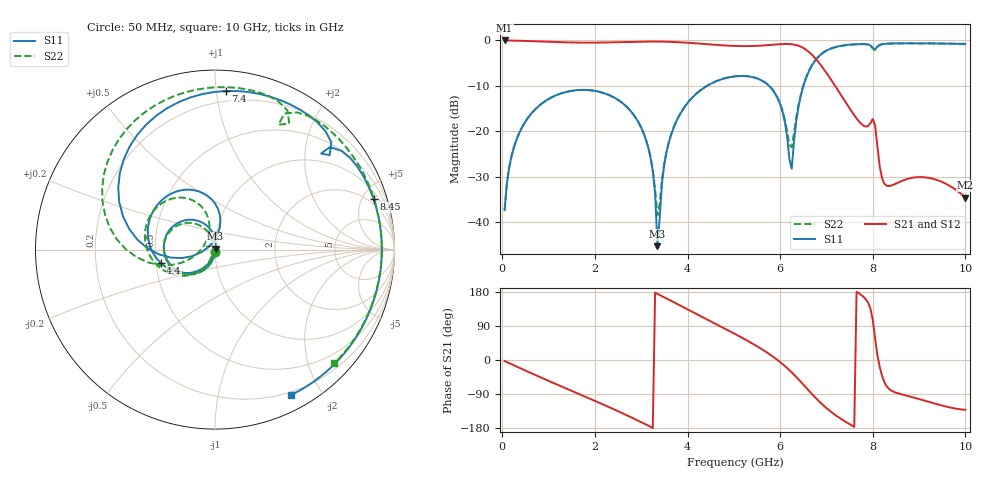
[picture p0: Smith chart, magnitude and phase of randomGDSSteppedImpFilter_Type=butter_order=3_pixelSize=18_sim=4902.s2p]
! freq	dB(S11)	phase(S11)	dB(S12)	phase(S12)
!  dB(S21)	phase(S21)	dB(S22)	phase(S22)
!S-par simulation data
#  GHz  S  DB  R 50
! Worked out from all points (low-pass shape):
!   200 points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, 50 MHz to 10 GHz, reference 50 ohm
!   highest |S21| = 0.00 dB at 50 MHz (marker M1); lowest = -34.5 dB at 10 GHz (marker M2)
!   |S21| within 3 dB of the highest: start of sweep to 6.672 GHz
!   lowest |S11| = -45.2 dB at 3.35 GHz (marker M3), VSWR 1.01, Z = 50.3 + j0.433 ohm
!   |S11| at or under -10 dB: start of sweep to 4.421 GHz; 5.76 GHz to 6.503 GHz (742.3 MHz wide, 12.1 % of centre)
!   |S22| runs from -38.5 to -0.6 dB; largest |S21 - S12| = 0
!   S11 on the Smith chart (normalised r, x): 50 MHz: 1.00, -0.03; 4.4 GHz: 0.53, -0.09; 7.4 GHz: 0.13, +1.06; 8.45 GHz: 1.51, +6.05; 10 GHz: 0.17, -1.64
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0.05  -37.33 -92.9  -0.00 -2.8  -0.00 -2.8  -37.33 -92.8
0.2  -25.41 -101.7  -0.03 -11.3  -0.03 -11.3  -25.41 -101.3
0.5  -17.84 -118.9  -0.11 -27.9  -0.11 -27.9  -17.84 -117.9
1.75  -10.87 172.9  -0.48 -94.7  -0.48 -94.7  -10.87 176.8
3  -19.19 101.4  -0.26 -164.1  -0.26 -164.1  -19.18 112.9
3.25  -28.76 83.7  -0.24 -179.2  -0.24 -179.2  -28.51 109.4
3.35  -45.25 51.9  -0.24 174.6  -0.24 174.6  -38.48 155.7
3.4  -38.84 -90.9  -0.25 171.5  -0.25 171.5  -35.95 -139.3
3.65  -20.60 -116.9  -0.32 155.8  -0.32 155.8  -20.49 -118.1
4.4  -10.13 -166.3  -0.81 108.3  -0.81 108.3  -10.10 -159.1
5.05  -7.87 151.5  -1.22 67.0  -1.22 67.0  -7.86 162.4
5.9  -11.84 89.8  -0.90 4.0  -0.90 4.0  -11.75 108.2
6.25  -28.22 158.9  -0.84 -32.6  -0.84 -32.6  -23.50 165.3
6.4  -14.39 -165.7  -1.19 -51.4  -1.19 -51.4  -13.94 -158.5
6.7  -5.26 160.1  -3.28 -91.5  -3.28 -91.5  -5.20 174.0
7.4  -1.06 86.2  -13.38 -162.0  -13.38 -162.0  -1.06 104.7
8  -1.64 39.5  -17.29 105.9  -17.29 105.9  -1.79 59.5
8.2  -0.82 34.1  -30.30 -41.7  -30.30 -41.7  -0.84 55.2
8.35  -0.69 23.9  -32.02 -76.0  -32.02 -76.0  -0.69 44.9
8.45  -0.66 17.7  -31.71 -83.8  -31.71 -83.8  -0.66 38.7
9.2  -0.65 -23.6  -30.21 -110.2  -30.21 -110.2  -0.64 -3.4
10  -0.78 -62.3  -34.55 -131.5  -34.55 -131.5  -0.74 -43.7
